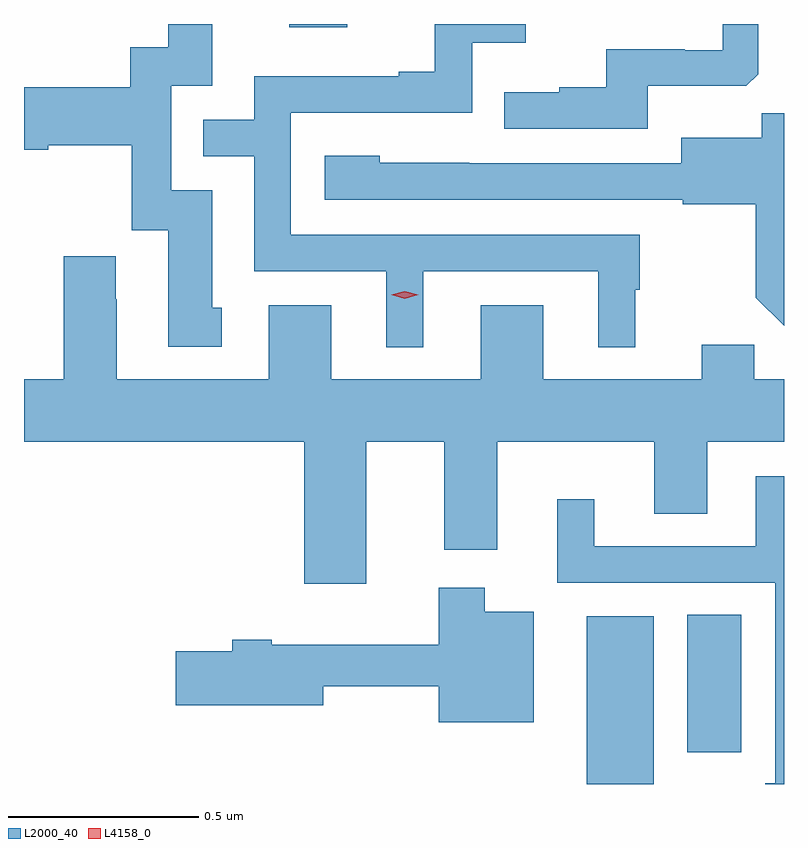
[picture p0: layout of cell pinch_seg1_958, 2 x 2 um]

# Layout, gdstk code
import gdstk
lib = gdstk.Library(unit=1e-6, precision=1e-09)
def R(c, l, rs):  # rectangles x0, y0, x1, y1
    for r in rs: c.add(gdstk.rectangle(r[:2], r[2:], *l))
def P(c, l, *ps):  # polygons
    for p in ps: c.add(gdstk.Polygon(p, *l))
L2000_40 = (2000, 40)
L4158_0 = (4158, 0)

pinch_seg1_958 = lib.new_cell('pinch_seg1_958')
R(pinch_seg1_958, L2000_40, [(177.74,553.495,177.916,553.936), (178.004,553.578,178.147,553.94), (176.957,555.486,177.109,555.495)])
P(pinch_seg1_958, L2000_40, [(176.779,554.748),(176.755,554.748),(176.755,555.057),(176.646,555.057),(176.646,555.333),(176.755,555.333),(176.755,555.495),(176.639,555.495),(176.639,555.434),(176.538,555.434),(176.538,555.328),(176.259,555.328),(176.259,555.164),(176.323,555.164),(176.323,555.176),(176.543,555.176),(176.543,554.952),(176.639,554.952),(176.639,554.646),(176.779,554.646)],
  [(177.31,554.844),(177.77,554.844),(177.77,554.645),(177.868,554.645),(177.868,554.796),(177.88,554.796),(177.88,554.94),(176.961,554.94),(176.961,555.261),(177.438,555.261),(177.438,555.446),(177.58,555.446),(177.58,555.495),(177.34,555.495),(177.34,555.37),(177.245,555.37),(177.245,555.357),(176.865,555.357),(176.865,555.243),(176.731,555.243),(176.731,555.147),(176.865,555.147),(176.865,554.844),(177.212,554.844),(177.212,554.645),(177.31,554.645)],
  [(177.901,555.332),(178.159,555.332),(178.191,555.363),(178.191,555.495),(178.098,555.495),(178.098,555.426),(177.998,555.426),(177.998,555.429),(177.791,555.429),(177.791,555.328),(177.667,555.328),(177.667,555.316),(177.523,555.316),(177.523,555.219),(177.901,555.219)],
  [(178.259,555.26),(178.2,555.26),(178.2,555.196),(177.989,555.196),(177.989,555.129),(177.431,555.129),(177.431,555.13),(177.195,555.13),(177.195,555.148),(177.051,555.148),(177.051,555.033),(177.993,555.033),(177.993,555.021),(178.185,555.021),(178.185,554.775),(178.259,554.701)],
  [(177.16,554.396),(177.365,554.396),(177.365,554.112),(177.505,554.112),(177.505,554.396),(177.917,554.396),(177.917,554.206),(178.057,554.206),(178.057,554.396),(178.259,554.396),(178.259,554.56),(178.181,554.56),(178.181,554.651),(178.043,554.651),(178.043,554.56),(177.625,554.56),(177.625,554.755),(177.461,554.755),(177.461,554.56),(177.067,554.56),(177.067,554.755),(176.903,554.755),(176.903,554.56),(176.503,554.56),(176.503,554.771),(176.5,554.771),(176.5,554.884),(176.363,554.884),(176.363,554.56),(176.259,554.56),(176.259,554.396),(176.996,554.396),(176.996,554.022),(177.16,554.022)],
  [(178.259,554.305),(178.184,554.305),(178.184,554.121),(177.76,554.121),(177.76,554.245),(177.662,554.245),(177.662,554.025),(178.236,554.025),(178.236,553.497),(178.21,553.497),(178.21,553.495),(178.259,553.495)],
  [(177.601,553.948),(177.472,553.948),(177.472,554.011),(177.35,554.011),(177.35,553.861),(176.911,553.861),(176.911,553.874),(176.807,553.874),(176.807,553.844),(176.658,553.844),(176.658,553.702),(177.046,553.702),(177.046,553.752),(177.35,553.752),(177.35,553.658),(177.601,553.658)])
P(pinch_seg1_958, L4158_0, [(177.261,554.772),(177.225,554.782),(177.225,554.782),(177.225,554.782),(177.261,554.792),(177.297,554.782),(177.297,554.782),(177.297,554.782)])

lib.write_gds('pinch_seg1_958.gds')
